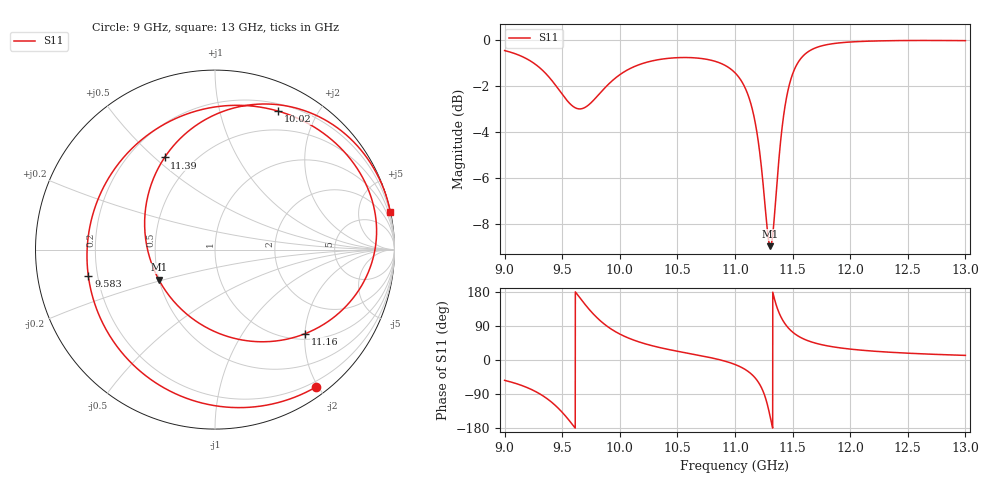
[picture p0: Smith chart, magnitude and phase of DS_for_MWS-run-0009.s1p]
! TOUCHSTONE file generated by CST DESIGN STUDIO
! Date and time: Tue Feb  4 18:41:46 2025
! Project name: C:\Work\MatlabApps\UnitCellOptimizationMatlab\CST\unitcell.cst
! Tree item: Tasks\Sweep1\SPara1\S-Parameters
! Header version: 2024
! Port assignment regex: !\s*Touchstone port\s*([0-9]+)\s*=\s*(CST MWS port|CST DES external port|CST DES block port)\s*(.+)\s* \(\"(.*)\"\)(\s*mode\s*([0-9]+))?.*
! Touchstone port assignment:
! Touchstone port 1 = CST DES external port 1 ("")
# GHz S MA R 50
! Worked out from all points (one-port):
!   4001 points, 9 GHz to 13 GHz, reference 50 ohm
!   lowest |S11| = -9.0 dB at 11.31 GHz (marker M1), VSWR 2.10, Z = 24.9 - j9.55 ohm
!   |S11| at or under -10 dB: nowhere
!   S11 on the Smith chart (normalised r, x): 9 GHz: 0.13, -1.97; 9.583 GHz: 0.16, -0.10; 10.02 GHz: 0.28, +1.52; 11.16 GHz: 1.13, -2.01; 11.39 GHz: 0.35, +0.54; 13 GHz: 0.05, +9.38
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9  0.9502 -53.7
9.165  0.9188 -69.1
9.316  0.8665 -91.4
9.413  0.8156 -112.6
9.5  0.7626 -138.0
9.583  0.7211 -168.1
9.673  0.7096 156.4
9.785  0.746 116.7
9.88  0.7921 91.3
10  0.8415 68.5
10.02  0.8481 65.4
10.226  0.8948 42.2
10.5  0.9168 23.1
10.796  0.9046 5.6
11  0.8497 -11.8
11.091  0.7844 -25.5
11.162  0.6871 -42.9
11.243  0.4882 -82.0
11.307  0.3552 -151.9
11.347  0.4282 156.1
11.391  0.5853 118.7
11.441  0.7355 92.7
11.5  0.8444 73.6
11.582  0.9196 57.6
11.682  0.9591 45.9
12  0.9919 28.8
12.5  0.9994 18.0
13  0.9988 12.2
